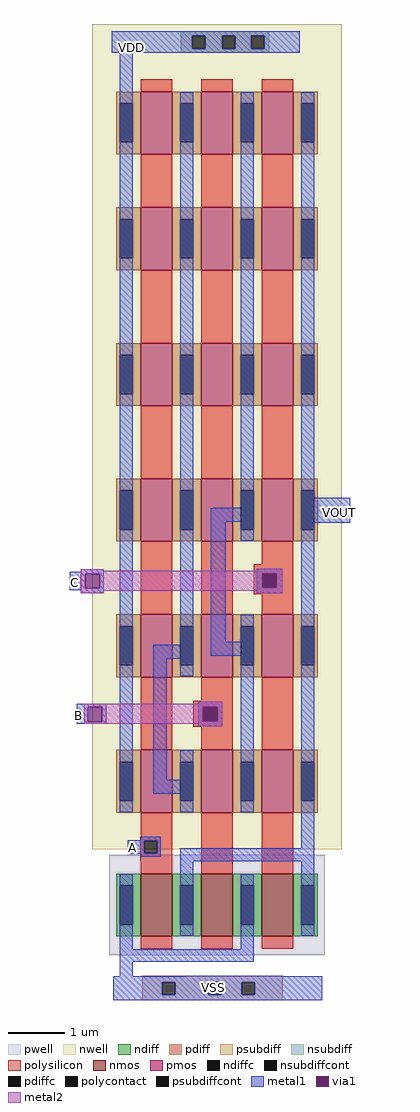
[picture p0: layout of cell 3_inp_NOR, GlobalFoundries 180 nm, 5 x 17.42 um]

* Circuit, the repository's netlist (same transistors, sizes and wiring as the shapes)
** sch_path: /home/moya/Documents/EuroCDP/ms_IPs/PLL/PLL-main/schematic/xschem/3_inp_NOR.sch
.subckt 3_inp_NOR VDD A B C VOUT VSS
*.iopin VSS
*.iopin VDD
*.ipin A
*.ipin B
*.ipin C
*.opin VOUT
XM1 VOUT A VSS VSS nfet_03v3 L=0.56u W=1.12u nf=1 ad='int((nf+1)/2) * W/nf * 0.18u' as='int((nf+2)/2) * W/nf * 0.18u' pd='2*int((nf+1)/2) * (W/nf + 0.18u)'
+ ps='2*int((nf+2)/2) * (W/nf + 0.18u)' nrd='0.18u / W' nrs='0.18u / W' sa=0 sb=0 sd=0 m=1
XM2 net1 B net2 VDD pfet_03v3 L=0.56u W=6.72u nf=1 ad='int((nf+1)/2) * W/nf * 0.18u' as='int((nf+2)/2) * W/nf * 0.18u' pd='2*int((nf+1)/2) * (W/nf + 0.18u)'
+ ps='2*int((nf+2)/2) * (W/nf + 0.18u)' nrd='0.18u / W' nrs='0.18u / W' sa=0 sb=0 sd=0 m=1
XM3 VOUT B VSS VSS nfet_03v3 L=0.56u W=1.12u nf=1 ad='int((nf+1)/2) * W/nf * 0.18u' as='int((nf+2)/2) * W/nf * 0.18u' pd='2*int((nf+1)/2) * (W/nf + 0.18u)'
+ ps='2*int((nf+2)/2) * (W/nf + 0.18u)' nrd='0.18u / W' nrs='0.18u / W' sa=0 sb=0 sd=0 m=1
XM4 VOUT C VSS VSS nfet_03v3 L=0.56u W=1.12u nf=1 ad='int((nf+1)/2) * W/nf * 0.18u' as='int((nf+2)/2) * W/nf * 0.18u' pd='2*int((nf+1)/2) * (W/nf + 0.18u)'
+ ps='2*int((nf+2)/2) * (W/nf + 0.18u)' nrd='0.18u / W' nrs='0.18u / W' sa=0 sb=0 sd=0 m=1
XM5 VOUT C net1 VDD pfet_03v3 L=0.56u W=6.72u nf=1 ad='int((nf+1)/2) * W/nf * 0.18u' as='int((nf+2)/2) * W/nf * 0.18u' pd='2*int((nf+1)/2) * (W/nf + 0.18u)'
+ ps='2*int((nf+2)/2) * (W/nf + 0.18u)' nrd='0.18u / W' nrs='0.18u / W' sa=0 sb=0 sd=0 m=1
XM6 net2 A VDD VDD pfet_03v3 L=0.56u W=6.72u nf=1 ad='int((nf+1)/2) * W/nf * 0.18u' as='int((nf+2)/2) * W/nf * 0.18u' pd='2*int((nf+1)/2) * (W/nf + 0.18u)'
+ ps='2*int((nf+2)/2) * (W/nf + 0.18u)' nrd='0.18u / W' nrs='0.18u / W' sa=0 sb=0 sd=0 m=1
**.ends
.end

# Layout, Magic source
magic
tech gf180mcuD
magscale 1 10
<< nwell >>
rect 0 364 892 525
<< psubdiff >>
rect 179 -2894 680 -2873
rect 179 -2895 415 -2894
rect 179 -2941 251 -2895
rect 297 -2940 415 -2895
rect 461 -2895 680 -2894
rect 461 -2940 535 -2895
rect 297 -2941 535 -2940
rect 581 -2941 680 -2895
rect 179 -2959 680 -2941
<< nsubdiff >>
rect 316 483 633 500
rect 316 437 358 483
rect 404 437 465 483
rect 511 437 569 483
rect 615 437 633 483
rect 316 422 633 437
<< psubdiffcont >>
rect 251 -2941 297 -2895
rect 415 -2940 461 -2894
rect 535 -2941 581 -2895
<< nsubdiffcont >>
rect 358 437 404 483
rect 465 437 511 483
rect 569 437 615 483
<< polysilicon >>
rect 174 -86 286 16
rect 390 -86 502 16
rect 606 -86 718 16
rect 174 -570 286 -398
rect 390 -570 502 -398
rect 606 -570 718 -398
rect 174 -1054 286 -882
rect 390 -1054 502 -882
rect 606 -1054 718 -882
rect 174 -1538 286 -1366
rect 390 -1538 502 -1366
rect 606 -1404 718 -1366
rect 578 -1439 718 -1404
rect 578 -1485 611 -1439
rect 657 -1485 718 -1439
rect 578 -1510 718 -1485
rect 606 -1538 718 -1510
rect 174 -2022 286 -1850
rect 390 -1890 502 -1850
rect 361 -1916 502 -1890
rect 361 -1962 400 -1916
rect 446 -1962 502 -1916
rect 361 -1984 502 -1962
rect 390 -2022 502 -1984
rect 606 -2022 718 -1850
rect 174 -2377 286 -2332
rect 172 -2390 286 -2377
rect 172 -2436 187 -2390
rect 233 -2436 286 -2390
rect 172 -2464 286 -2436
rect 390 -2464 502 -2331
rect 606 -2464 718 -2332
rect 174 -2465 286 -2464
<< polycontact >>
rect 611 -1485 657 -1439
rect 400 -1962 446 -1916
rect 187 -2436 233 -2390
<< metal1 >>
rect 71 483 741 500
rect 71 437 358 483
rect 404 437 465 483
rect 511 437 569 483
rect 615 437 741 483
rect 71 422 741 437
rect -40 -1431 41 -1421
rect -79 -1438 41 -1431
rect -79 -1490 -25 -1438
rect 27 -1490 41 -1438
rect -79 -1497 41 -1490
rect -40 -1507 41 -1497
rect -54 -1913 50 -1902
rect -54 -1965 -15 -1913
rect 37 -1965 50 -1913
rect -54 -1973 50 -1965
rect 99 -2288 145 422
rect 315 -1691 361 282
rect 531 -1202 577 282
rect 433 -1203 577 -1202
rect 218 -1741 361 -1691
rect 423 -1252 577 -1203
rect 423 -1681 477 -1252
rect 531 -1320 577 -1252
rect 747 -1167 793 282
rect 747 -1255 921 -1167
rect 588 -1435 679 -1419
rect 588 -1487 607 -1435
rect 659 -1487 679 -1435
rect 588 -1507 679 -1487
rect 531 -1681 577 -1584
rect 423 -1731 577 -1681
rect 218 -2173 267 -1741
rect 315 -1804 361 -1741
rect 379 -1912 465 -1894
rect 379 -1964 396 -1912
rect 448 -1964 465 -1912
rect 379 -1982 465 -1964
rect 315 -2173 361 -2068
rect 218 -2223 361 -2173
rect 315 -2288 361 -2223
rect 531 -2288 577 -1731
rect 174 -2388 246 -2377
rect 128 -2390 246 -2388
rect 128 -2436 187 -2390
rect 233 -2436 246 -2390
rect 747 -2417 793 -1255
rect 128 -2437 246 -2436
rect 174 -2448 246 -2437
rect 315 -2464 793 -2417
rect 99 -2777 145 -2510
rect 315 -2730 361 -2464
rect 531 -2777 577 -2510
rect 747 -2730 793 -2464
rect 99 -2823 577 -2777
rect 99 -2874 145 -2823
rect 332 -2874 680 -2873
rect 76 -2894 821 -2874
rect 76 -2895 415 -2894
rect 76 -2941 251 -2895
rect 297 -2940 415 -2895
rect 461 -2895 821 -2894
rect 461 -2940 535 -2895
rect 297 -2941 535 -2940
rect 581 -2941 821 -2895
rect 76 -2959 821 -2941
<< via1 >>
rect -25 -1490 27 -1438
rect -15 -1965 37 -1913
rect 607 -1439 659 -1435
rect 607 -1485 611 -1439
rect 611 -1485 657 -1439
rect 657 -1485 659 -1439
rect 607 -1487 659 -1485
rect 396 -1916 448 -1912
rect 396 -1962 400 -1916
rect 400 -1962 446 -1916
rect 446 -1962 448 -1916
rect 396 -1964 448 -1962
<< metal2 >>
rect -40 -1427 41 -1421
rect 588 -1427 679 -1419
rect -40 -1435 679 -1427
rect -40 -1438 607 -1435
rect -40 -1490 -25 -1438
rect 27 -1487 607 -1438
rect 659 -1487 679 -1435
rect 27 -1490 679 -1487
rect -40 -1498 679 -1490
rect -40 -1499 367 -1498
rect -40 -1507 41 -1499
rect 588 -1507 679 -1498
rect 379 -1902 465 -1894
rect -28 -1912 465 -1902
rect -28 -1913 396 -1912
rect -28 -1965 -15 -1913
rect 37 -1964 396 -1913
rect 448 -1964 465 -1912
rect 37 -1965 465 -1964
rect -28 -1973 465 -1965
rect 379 -1982 465 -1973
use nmos_3p3_A2UGVV  nmos_3p3_A2UGVV_0
transform 1 0 230 0 1 -2620
box -168 -180 168 180
use nmos_3p3_A2UGVV  nmos_3p3_A2UGVV_1
transform 1 0 446 0 1 -2620
box -168 -180 168 180
use nmos_3p3_A2UGVV  nmos_3p3_A2UGVV_2
transform 1 0 662 0 1 -2620
box -168 -180 168 180
use pmos_3p3_V9Y6F7  pmos_3p3_V9Y6F7_0
transform 1 0 662 0 1 -2178
box -230 -242 230 242
use pmos_3p3_V9Y6F7  pmos_3p3_V9Y6F7_1
transform 1 0 230 0 1 -2178
box -230 -242 230 242
use pmos_3p3_V9Y6F7  pmos_3p3_V9Y6F7_2
transform 1 0 446 0 1 -2178
box -230 -242 230 242
use pmos_3p3_V9Y6F7  pmos_3p3_V9Y6F7_3
transform 1 0 662 0 1 -1210
box -230 -242 230 242
use pmos_3p3_V9Y6F7  pmos_3p3_V9Y6F7_4
transform 1 0 446 0 1 -1210
box -230 -242 230 242
use pmos_3p3_V9Y6F7  pmos_3p3_V9Y6F7_5
transform 1 0 230 0 1 -1210
box -230 -242 230 242
use pmos_3p3_V9Y6F7  pmos_3p3_V9Y6F7_6
transform 1 0 230 0 1 -1694
box -230 -242 230 242
use pmos_3p3_V9Y6F7  pmos_3p3_V9Y6F7_7
transform 1 0 446 0 1 -1694
box -230 -242 230 242
use pmos_3p3_V9Y6F7  pmos_3p3_V9Y6F7_8
transform 1 0 662 0 1 -1694
box -230 -242 230 242
use pmos_3p3_V9Y6F7  pmos_3p3_V9Y6F7_9
transform 1 0 230 0 1 -726
box -230 -242 230 242
use pmos_3p3_V9Y6F7  pmos_3p3_V9Y6F7_10
transform 1 0 446 0 1 -726
box -230 -242 230 242
use pmos_3p3_V9Y6F7  pmos_3p3_V9Y6F7_11
transform 1 0 662 0 1 -726
box -230 -242 230 242
use pmos_3p3_V9Y6F7  pmos_3p3_V9Y6F7_12
transform 1 0 230 0 1 -242
box -230 -242 230 242
use pmos_3p3_V9Y6F7  pmos_3p3_V9Y6F7_13
transform 1 0 446 0 1 -242
box -230 -242 230 242
use pmos_3p3_V9Y6F7  pmos_3p3_V9Y6F7_14
transform 1 0 662 0 1 -242
box -230 -242 230 242
use pmos_3p3_V9Y6F7  pmos_3p3_V9Y6F7_15
transform 1 0 662 0 1 172
box -230 -242 230 242
use pmos_3p3_V9Y6F7  pmos_3p3_V9Y6F7_16
transform 1 0 446 0 1 172
box -230 -242 230 242
use pmos_3p3_V9Y6F7  pmos_3p3_V9Y6F7_17
transform 1 0 230 0 1 172
box -230 -242 230 242
<< labels >>
flabel metal1 s 144 -2414 144 -2414 0 FreeSans 750 0 0 0 A
port 2 nsew
flabel metal1 s -50 -1942 -50 -1942 0 FreeSans 750 0 0 0 B
port 3 nsew
flabel metal1 s -64 -1470 -64 -1470 0 FreeSans 750 0 0 0 C
port 4 nsew
flabel metal1 s 882 -1219 882 -1219 0 FreeSans 750 0 0 0 VOUT
port 5 nsew
rlabel metal1 120 430 160 450 0 VDD
port 1 nsew
rlabel metal1 332 -2959 535 -2873 0 VSS
port 6 nsew
<< end >>

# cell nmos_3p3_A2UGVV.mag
magic
tech gf180mcuD
magscale 1 10
<< pwell >>
rect -168 -180 168 180
<< nmos >>
rect -56 -112 56 112
<< ndiff >>
rect -144 70 -56 112
rect -144 -70 -131 70
rect -85 -70 -56 70
rect -144 -112 -56 -70
rect 56 70 144 112
rect 56 -70 85 70
rect 131 -70 144 70
rect 56 -112 144 -70
<< ndiffc >>
rect -131 -70 -85 70
rect 85 -70 131 70
<< polysilicon >>
rect -56 112 56 156
rect -56 -156 56 -112
<< metal1 >>
rect -131 70 -85 110
rect -131 -110 -85 -70
rect 85 70 131 110
rect 85 -110 131 -70
<< end >>

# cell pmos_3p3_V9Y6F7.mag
magic
tech gf180mcuD
magscale 1 10
<< nwell >>
rect -230 -242 230 242
<< pmos >>
rect -56 -112 56 112
<< pdiff >>
rect -144 70 -56 112
rect -144 -70 -131 70
rect -85 -70 -56 70
rect -144 -112 -56 -70
rect 56 70 144 112
rect 56 -70 85 70
rect 131 -70 144 70
rect 56 -112 144 -70
<< pdiffc >>
rect -131 -70 -85 70
rect 85 -70 131 70
<< polysilicon >>
rect -56 112 56 156
rect -56 -156 56 -112
<< metal1 >>
rect -131 70 -85 110
rect -131 -110 -85 -70
rect 85 70 131 110
rect 85 -110 131 -70
<< end >>
